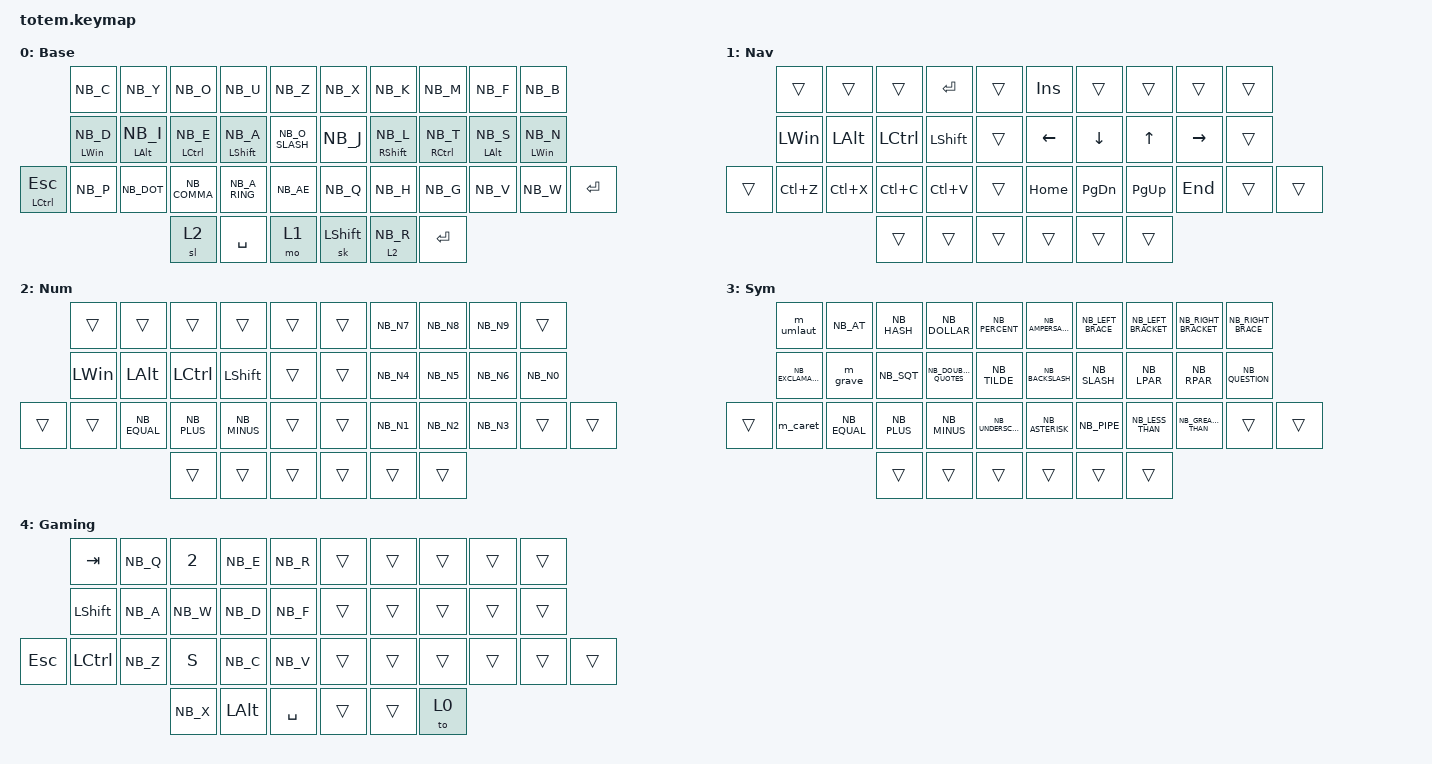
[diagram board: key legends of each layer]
//
//                                                        ▀▀▀▀▀     ▀▀▀▀▀          ▀▀█▀▀
//                                                        ▄▀▀▀▄  ▄  ▄▀▀▀▄  ▄  ▄▀▀▀▄  █  ▄▀▀▀▄
//                                                        █   █  █  █   █  █  █   █  █  █   █
//                                                         ▀▀▀   █   ▀▀▀   █   ▀▀▀   ▀   ▀▀▀
//                                                               █      ▄▄▄█▄▄▄    █   █  
//                                                               ▀      █  █  █     █▄█
//                                                             ▀▀▀▀▀    █  █  █      ▀
//                                                                      ▀  ▀  ▀
//
// ▄▄▄▄▄▄▄▄▄▄▄▄▄▄▄▄▄▄▄▄▄▄▄▄▄▄▄▄▄▄▄▄▄▄▄▄▄▄▄▄▄▄▄▄▄▄▄▄▄▄▄▄▄▄▄▄▄▄▄▄▄▄▄▄▄▄▄▄▄▄▄▄▄▄▄▄▄▄▄▄▄▄▄▄▄▄▄▄▄▄▄▄▄▄▄▄▄▄▄▄▄▄▄▄▄▄▄▄▄▄▄▄▄▄▄▄▄▄▄▄▄▄▄▄▄▄▄▄▄▄▄▄▄▄▄▄▄▄▄▄▄▄▄▄▄▄▄▄▄

#include "keys_nb.h"
#include <behaviors.dtsi>
#include <dt-bindings/zmk/keys.h>

#define Base        0
#define Nav         1
#define Num         2
#define Sym         3
#define Gaming      4

&mt {
    quick-tap-ms = <100>;
    global-quick-tap;
    flavor = "tap-preferred";
    tapping-term-ms = <170>;
};

&lt {
    tapping-term-ms = <240>;
    flavor = "balanced";
    quick-tap-ms = <150>;
};

/ {
    behaviors {
        hm: homerow_mods {
            compatible = "zmk,behavior-hold-tap";
            label = "HOMEROW_MODS";
            #binding-cells = <2>;
            flavor = "tap-preferred";
            tapping-term-ms = <250>;
            quick-tap-ms = <125>;
            global-quick-tap;
            bindings = <&kp>, <&kp>;
        };

    };

    macros {
        m_umlaut: m_umlaut {
            compatible = "zmk,behavior-macro";
            #binding-cells = <0>;
            bindings = <&kp NB_UMLAUT &kp NB_UMLAUT>;
        };
        m_caret: m_caret {
            compatible = "zmk,behavior-macro";
            #binding-cells = <0>;
            bindings = <&kp NB_CARET &kp NB_CARET>;
        };
        m_grave: m_grave {
            compatible = "zmk,behavior-macro";
            #binding-cells = <0>;
            bindings = <&kp NB_GRAVE &kp NB_GRAVE>;
        };
    };

    combos {
        compatible = "zmk,combos";

        combo_tab {
            bindings = <&kp TAB>;
            key-positions = <22 23>;
        };

        combo_sym {
            bindings = <&sl 3>;
            key-positions = <33 36>;
        };
    };

    keymap {
        compatible = "zmk,keymap";

        Base {
            label = "Base";
            bindings = <
               &kp NB_C            &kp NB_Y       &kp NB_O        &kp NB_U          &kp NB_Z          &kp NB_X     &kp NB_K        &kp NB_M        &kp NB_F       &kp NB_B
               &hm LEFT_WIN NB_D   &hm LALT NB_I  &hm LCTRL NB_E  &hm LSHIFT NB_A   &kp NB_O_SLASH    &kp NB_J     &hm RSHFT NB_L  &hm RCTRL NB_T  &hm LALT NB_S  &hm LEFT_WIN NB_N
&hm LCTRL ESCAPE  &kp NB_P         &kp NB_DOT     &kp NB_COMMA    &kp NB_A_RING     &kp NB_AE         &kp NB_Q     &kp NB_H        &kp NB_G        &kp NB_V       &kp NB_W              &kp ENTER
                                                  &sl 2           &kp SPACE         &mo 1             &sk LSHFT    &lt 2 NB_R      &kp ENTER
            >;
        };

        Nav {
            label = "Nav";
            bindings = <
        &trans        &trans        &trans     &kp ENTER       &trans    &kp INSERT      &trans          &trans        &trans           &trans
        &kp LEFT_WIN  &kp LEFT_ALT  &kp LCTRL  &kp LEFT_SHIFT  &trans    &kp LEFT_ARROW  &kp DOWN_ARROW  &kp UP_ARROW  &kp RIGHT_ARROW  &trans
&trans  &kp LC(Z)     &kp LC(X)     &kp LC(C)  &kp LC(V)       &trans    &kp HOME        &kp PAGE_DOWN   &kp PG_UP     &kp END          &trans  &trans
                                    &trans     &trans          &trans    &trans          &trans          &trans
            >;
        };

        Num {
            bindings = <
        &trans        &trans    &trans     &trans          &trans    &trans  &kp NB_N7  &kp NB_N8  &kp NB_N9  &trans
        &kp LEFT_WIN  &kp LALT  &kp LCTRL  &kp LEFT_SHIFT  &trans    &trans  &kp NB_N4  &kp NB_N5  &kp NB_N6  &kp NB_N0
&trans  &trans        &kp NB_EQUAL  &kp NB_PLUS  &kp NB_MINUS  &trans    &trans  &kp NB_N1  &kp NB_N2  &kp NB_N3  &trans  &trans
                                &trans  &trans  &trans    &trans  &trans  &trans
            >;

            label = "Num";
        };

        Sym {
            label = "Sym";
            bindings = <
        &m_umlaut          &kp NB_AT     &kp NB_HASH           &kp NB_DOLLAR             &kp NB_PERCENT       &kp NB_AMPERSAND  &kp NB_LEFT_BRACE  &kp NB_LEFT_BRACKET  &kp NB_RIGHT_BRACKET  &kp NB_RIGHT_BRACE
        &kp NB_EXCLAMATION &m_grave      &kp NB_SQT            &kp NB_DOUBLE_QUOTES      &kp NB_TILDE         &kp NB_BACKSLASH  &kp NB_SLASH       &kp NB_LPAR          &kp NB_RPAR           &kp NB_QUESTION
&trans  &m_caret           &kp NB_EQUAL  &kp NB_PLUS           &kp NB_MINUS              &kp NB_UNDERSCORE    &kp NB_ASTERISK   &kp NB_PIPE        &kp NB_LESS_THAN     &kp NB_GREATER_THAN   &trans  &trans
                                         &trans                 &trans                    &trans               &trans            &trans             &trans
            >;
        };


        Gaming {
            bindings = <
            &kp TAB           &kp NB_Q  &kp NUMBER_2  &kp NB_E      &kp NB_R     &trans  &trans  &trans  &trans  &trans
            &kp LEFT_SHIFT    &kp NB_A  &kp NB_W      &kp NB_D      &kp NB_F     &trans  &trans  &trans  &trans  &trans
&kp ESCAPE  &kp LEFT_CONTROL  &kp NB_Z  &kp S         &kp NB_C      &kp NB_V     &trans  &trans  &trans  &trans  &trans  &trans
                                        &kp NB_X      &kp LEFT_ALT  &kp SPACE    &trans  &trans  &to 0
            >;

            label = "Gaming";
        };
    };

    conditional_layers { compatible = "zmk,conditional-layers"; };
};
